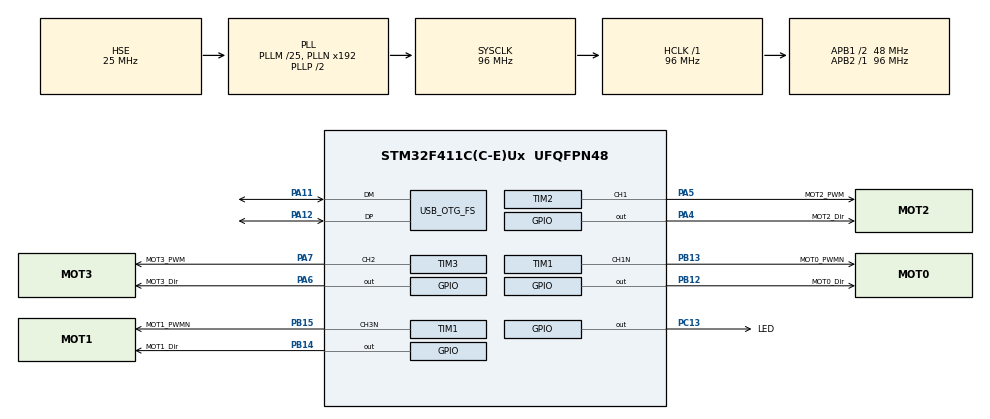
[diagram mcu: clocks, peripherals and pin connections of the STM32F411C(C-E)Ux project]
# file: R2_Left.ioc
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Mcu.Family=STM32F4
Mcu.Name=STM32F411C(C-E)Ux
Mcu.Package=UFQFPN48
NVIC.OTG_FS_IRQn=true\:0\:0\:false\:false\:true\:false\:true\:true
NVIC.PriorityGroup=NVIC_PRIORITYGROUP_4
NVIC.TIM4_IRQn=true\:0\:0\:false\:false\:true\:true\:true\:true
PA11.Mode=Device_Only
PA11.Signal=USB_OTG_FS_DM
PA12.Mode=Device_Only
PA12.Signal=USB_OTG_FS_DP
PA4.GPIO_Label=MOT2_Dir
PA4.Signal=GPIO_Output
PA5.GPIO_Label=MOT2_PWM
PA5.Signal=S_TIM2_CH1_ETR
PA6.GPIO_Label=MOT3_Dir
PA6.Signal=GPIO_Output
PA7.GPIO_Label=MOT3_PWM
PA7.Signal=S_TIM3_CH2
PB12.GPIO_Label=MOT0_Dir
PB12.Signal=GPIO_Output
PB13.GPIO_Label=MOT0_PWMN
PB13.Mode=PWM Generation1 CH1N
PB13.Signal=TIM1_CH1N
PB14.GPIO_Label=MOT1_Dir
PB14.Signal=GPIO_Output
PB15.GPIO_Label=MOT1_PWMN
PB15.Mode=PWM Generation3 CH3N
PB15.Signal=TIM1_CH3N
PC13-ANTI_TAMP.GPIO_Label=LED
PC13-ANTI_TAMP.Signal=GPIO_Output
PH0\ -\ OSC_IN.Mode=HSE-External-Oscillator
PH0\ -\ OSC_IN.Signal=RCC_OSC_IN
PH1\ -\ OSC_OUT.Mode=HSE-External-Oscillator
PH1\ -\ OSC_OUT.Signal=RCC_OSC_OUT
ProjectManager.HeapSize=0x200
ProjectManager.StackSize=0x400
ProjectManager.TargetToolchain=STM32CubeIDE
RCC.48MHZClocksFreq_Value=48000000
RCC.AHBFreq_Value=96000000
RCC.APB1CLKDivider=RCC_HCLK_DIV2
RCC.APB1Freq_Value=48000000
RCC.APB1TimFreq_Value=96000000
RCC.APB2Freq_Value=96000000
RCC.APB2TimFreq_Value=96000000
RCC.CortexFreq_Value=96000000
RCC.HCLKFreq_Value=96000000
RCC.HSE_VALUE=25000000
RCC.HSI_VALUE=16000000
RCC.LSE_VALUE=32768
RCC.PLLM=25
RCC.SYSCLKFreq_VALUE=96000000
RCC.SYSCLKSource=RCC_SYSCLKSOURCE_PLLCLK
RCC.VCOOutputFreq_Value=192000000
SH.S_TIM2_CH1_ETR.0=TIM2_CH1,PWM Generation1 CH1
SH.S_TIM3_CH2.0=TIM3_CH2,PWM Generation2 CH2
TIM1.Channel-PWM\ Generation1\ CH1N=TIM_CHANNEL_1
TIM1.Channel-PWM\ Generation3\ CH3N=TIM_CHANNEL_3
TIM2.Channel-PWM\ Generation1\ CH1=TIM_CHANNEL_1
TIM3.Channel-PWM\ Generation2\ CH2=TIM_CHANNEL_2
TIM4.AutoReloadPreload=TIM_AUTORELOAD_PRELOAD_ENABLE
TIM4.Period=1000
TIM4.Prescaler=95
USB_DEVICE.CLASS_NAME_FS=CDC
USB_DEVICE.VirtualMode=Cdc
USB_DEVICE.VirtualModeFS=Cdc_FS
USB_OTG_FS.VirtualMode=Device_Only
VP_TIM1_VS_ClockSourceINT.Mode=Internal
VP_TIM2_VS_ClockSourceINT.Mode=Internal
VP_TIM3_VS_ClockSourceINT.Mode=Internal
VP_TIM4_VS_ClockSourceINT.Mode=Internal
VP_USB_DEVICE_VS_USB_DEVICE_CDC_FS.Mode=CDC_FS
board=custom

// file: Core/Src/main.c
/* USER CODE BEGIN Header */
/**
 ******************************************************************************
 * @file           : main.c
 * @brief          : Main program body
 ******************************************************************************
 * @attention
 *
 * Copyright (c) 2024 STMicroelectronics.
 * All rights reserved.
 *
 * This software is licensed under terms that can be found in the LICENSE file
 * in the root directory of this software component.
 * If no LICENSE file comes with this software, it is provided AS-IS.
 *
 ******************************************************************************
 */
/* USER CODE END Header */
#include "main.h"
#include "usb_device.h"

/* USER CODE BEGIN Includes */
#include "usbd_cdc_if.h"
#include "string.h"

/* USER CODE END Includes */

/* USER CODE BEGIN PTD */
typedef struct {
	GPIO_TypeDef *PORT;
	uint16_t PIN;
	TIM_HandleTypeDef *TIMER;
	uint32_t CHANNEL;
	uint8_t DIR;
	uint16_t PWM;
} MOTOR_TypeDef;

/* USER CODE END PTD */

/* USER CODE BEGIN PD */
#define BUFFER_LENGTH 64
#define SOL_INTERVAL 1000

#define NO_OF_MOTORS 4
#define LEFT_SHIFT 8

/* USER CODE END PD */

TIM_HandleTypeDef htim1;
TIM_HandleTypeDef htim2;
TIM_HandleTypeDef htim3;
TIM_HandleTypeDef htim4;

/* USER CODE BEGIN PV */
char buffer[BUFFER_LENGTH];

uint8_t leadPos = 2; //DON'T start the lead screw at an extreme position
uint8_t errorFlag = 0;

MOTOR_TypeDef motor[NO_OF_MOTORS];

/* USER CODE END PV */

void SystemClock_Config(void);
static void MX_GPIO_Init(void);
static void MX_TIM1_Init(void);
static void MX_TIM2_Init(void);
static void MX_TIM4_Init(void);
static void MX_TIM3_Init(void);

/* USER CODE BEGIN 0 */
int isCleared(char *buffer) {
	for (uint8_t i = 0; i < BUFFER_LENGTH; i++) {
		if (buffer[i] != '\0') {
			return 0;  // Buffer is not cleared
		}
	}
	return 1;  // Buffer is cleared
}

/* USER CODE END 0 */

int main(void) {

	/* USER CODE BEGIN 1 */
	uint32_t lastSOL = 0;

	char message[BUFFER_LENGTH + 20];

	motor[0].PORT = GPIOB;
	motor[0].PIN = GPIO_PIN_12;
	motor[0].TIMER = &htim1;
	motor[0].CHANNEL = TIM_CHANNEL_1;

	motor[1].PORT = GPIOB;
	motor[1].PIN = GPIO_PIN_14;
	motor[1].TIMER = &htim1;
	motor[1].CHANNEL = TIM_CHANNEL_3;

	motor[2].PORT = GPIOA;
	motor[2].PIN = GPIO_PIN_4;
	motor[2].TIMER = &htim2;
	motor[2].CHANNEL = TIM_CHANNEL_1;

	motor[3].PORT = GPIOA;
	motor[3].PIN = GPIO_PIN_6;
	motor[3].TIMER = &htim3;
	motor[3].CHANNEL = TIM_CHANNEL_2;

	for (uint8_t i = 0; i < NO_OF_MOTORS; i++) {
		motor[i].DIR = 0;
		motor[i].PWM = 0;
	}

	/* USER CODE END 1 */

	/* MCU Configuration--------------------------------------------------------*/

	/* Reset of all peripherals, Initializes the Flash interface and the Systick. */
	HAL_Init();

	/* Configure the system clock */
	SystemClock_Config();

	/* Initialize all configured peripherals */
	MX_GPIO_Init();
	MX_TIM1_Init();
	MX_TIM2_Init();
	MX_TIM4_Init();
	MX_USB_DEVICE_Init();
	MX_TIM3_Init();
	/* USER CODE BEGIN 2 */
	HAL_GPIO_WritePin(GPIOC, GPIO_PIN_13, GPIO_PIN_RESET);

	for (uint8_t i = 0; i < 2; i++) {
		if ((HAL_TIMEx_PWMN_Start(motor[i].TIMER, motor[i].CHANNEL) == HAL_OK)) {
			sprintf(message, "Motor %d PWM initialised\n\r", i);
		} else {
			sprintf(message, "Error initialising motor %d PWM\n\r", i);
			errorFlag = 1;
		}

		CDC_Transmit_FS((uint8_t*) message, strlen(message));
		HAL_Delay(1);
	}

	for (uint8_t i = 2; i < NO_OF_MOTORS; i++) {
		if ((HAL_TIM_PWM_Start(motor[i].TIMER, motor[i].CHANNEL) == HAL_OK)) { //this is PWM not PWMN
			sprintf(message, "Motor %d PWM initialised\n\r", i);
		} else {
			sprintf(message, "Error initialising motor %d PWM\n\r", i);
			errorFlag = 1;
		}

		CDC_Transmit_FS((uint8_t*) message, strlen(message));
		HAL_Delay(1);
	}

	for (uint8_t i = 0; i < NO_OF_MOTORS; i++) {
		HAL_GPIO_WritePin(motor[i].PORT, motor[i].PIN, GPIO_PIN_RESET);
		__HAL_TIM_SET_COMPARE(motor[i].TIMER, motor[i].CHANNEL, 0);
	}

	if (!errorFlag) {
		sprintf(message, "All systems operational\n\r");
		CDC_Transmit_FS((uint8_t*) message, strlen(message));
		HAL_Delay(1);

		sprintf(message, "F411 Black Pill online\n\r");
		CDC_Transmit_FS((uint8_t*) message, strlen(message));
		HAL_Delay(1);
	} else {
		sprintf(message, "STM started with some errors\n\r");
		CDC_Transmit_FS((uint8_t*) message, strlen(message));
		HAL_Delay(1);
	}

	/* USER CODE END 2 */

	/* Infinite loop */
	/* USER CODE BEGIN WHILE */
	while (1) {
		uint32_t current_time = HAL_GetTick();

		if (!isCleared(buffer)) {
			char receivedStr[BUFFER_LENGTH];

			sprintf(message, "String Received: %s\n\r", buffer);
			CDC_Transmit_FS((uint8_t*) message, strlen(message));

			sprintf(receivedStr, "%s", buffer);
			uint8_t receivedStrlen = strlen(receivedStr);

			if (receivedStr[receivedStrlen - 1] == 'A') {
				uint8_t arrIndex = 1;
				uint8_t multiplier = 1;

				for (uint8_t i = 0; i < 2; i++) {
					motor[i].DIR = 0;
					motor[i].PWM = 0;
				}

				for (int8_t i = receivedStrlen - 2; i >= 0; i--) {
					if (receivedStr[i] >= '0' && receivedStr[i] <= '9') {
						motor[arrIndex].PWM += (receivedStr[i] - '0')
								* multiplier;
						multiplier *= 10;
					} else if (receivedStr[i] == '-') {
						motor[arrIndex].DIR = 1;
					} else if (receivedStr[i] == ',') {
						arrIndex--;
						multiplier = 1;
					}
				}

				for (uint8_t i = 0; i < NO_OF_MOTORS; i++) {
					HAL_GPIO_WritePin(motor[i].PORT, motor[i].PIN,
							motor[i].DIR);
					__HAL_TIM_SET_COMPARE(motor[i].TIMER, motor[i].CHANNEL,
							motor[i].PWM << LEFT_SHIFT);

					sprintf(message, "Dir%d: %d PWM%d: %d\n\r", i, motor[i].DIR,
							i, motor[i].PWM);
					CDC_Transmit_FS((uint8_t*) message, strlen(message));
					HAL_Delay(1);	//Doesn't work without this line
				}
			}

			memset(buffer, '\0', BUFFER_LENGTH);

		} else if (current_time - lastSOL >= SOL_INTERVAL) {
			CDC_Transmit_FS((uint8_t*) "SOL\n\r", strlen("SOL\n\r"));
			lastSOL = current_time;
		}

		HAL_Delay(1);
		/* USER CODE END WHILE */

	}
}

void SystemClock_Config(void) {
	RCC_OscInitTypeDef RCC_OscInitStruct = { 0 };
	RCC_ClkInitTypeDef RCC_ClkInitStruct = { 0 };

	/** Configure the main internal regulator output voltage
	 */
	__HAL_RCC_PWR_CLK_ENABLE();
	__HAL_PWR_VOLTAGESCALING_CONFIG(PWR_REGULATOR_VOLTAGE_SCALE1);

	/** Initializes the RCC Oscillators according to the specified parameters
	 * in the RCC_OscInitTypeDef structure.
	 */
	RCC_OscInitStruct.OscillatorType = RCC_OSCILLATORTYPE_HSE;
	RCC_OscInitStruct.HSEState = RCC_HSE_ON;
	RCC_OscInitStruct.PLL.PLLState = RCC_PLL_ON;
	RCC_OscInitStruct.PLL.PLLSource = RCC_PLLSOURCE_HSE;
	RCC_OscInitStruct.PLL.PLLM = 25;
	RCC_OscInitStruct.PLL.PLLN = 192;
	RCC_OscInitStruct.PLL.PLLP = RCC_PLLP_DIV2;
	RCC_OscInitStruct.PLL.PLLQ = 4;
	if (HAL_RCC_OscConfig(&RCC_OscInitStruct) != HAL_OK) {
		Error_Handler();
	}

	/** Initializes the CPU, AHB and APB buses clocks
	 */
	RCC_ClkInitStruct.ClockType = RCC_CLOCKTYPE_HCLK | RCC_CLOCKTYPE_SYSCLK
			| RCC_CLOCKTYPE_PCLK1 | RCC_CLOCKTYPE_PCLK2;
	RCC_ClkInitStruct.SYSCLKSource = RCC_SYSCLKSOURCE_PLLCLK;
	RCC_ClkInitStruct.AHBCLKDivider = RCC_SYSCLK_DIV1;
	RCC_ClkInitStruct.APB1CLKDivider = RCC_HCLK_DIV2;
	RCC_ClkInitStruct.APB2CLKDivider = RCC_HCLK_DIV1;

	if (HAL_RCC_ClockConfig(&RCC_ClkInitStruct, FLASH_LATENCY_3) != HAL_OK) {
		Error_Handler();
	}
}

static void MX_TIM1_Init(void) {

	TIM_ClockConfigTypeDef sClockSourceConfig = { 0 };
	TIM_MasterConfigTypeDef sMasterConfig = { 0 };
	TIM_OC_InitTypeDef sConfigOC = { 0 };
	TIM_BreakDeadTimeConfigTypeDef sBreakDeadTimeConfig = { 0 };

	htim1.Instance = TIM1;
	htim1.Init.Prescaler = 0;
	htim1.Init.CounterMode = TIM_COUNTERMODE_UP;
	htim1.Init.Period = 65535;
	htim1.Init.ClockDivision = TIM_CLOCKDIVISION_DIV1;
	htim1.Init.RepetitionCounter = 0;
	htim1.Init.AutoReloadPreload = TIM_AUTORELOAD_PRELOAD_DISABLE;
	if (HAL_TIM_Base_Init(&htim1) != HAL_OK) {
		Error_Handler();
	}
	sClockSourceConfig.ClockSource = TIM_CLOCKSOURCE_INTERNAL;
	if (HAL_TIM_ConfigClockSource(&htim1, &sClockSourceConfig) != HAL_OK) {
		Error_Handler();
	}
	if (HAL_TIM_PWM_Init(&htim1) != HAL_OK) {
		Error_Handler();
	}
	sMasterConfig.MasterOutputTrigger = TIM_TRGO_RESET;
	sMasterConfig.MasterSlaveMode = TIM_MASTERSLAVEMODE_DISABLE;
	if (HAL_TIMEx_MasterConfigSynchronization(&htim1, &sMasterConfig)
			!= HAL_OK) {
		Error_Handler();
	}
	sConfigOC.OCMode = TIM_OCMODE_PWM1;
	sConfigOC.Pulse = 0;
	sConfigOC.OCPolarity = TIM_OCPOLARITY_HIGH;
	sConfigOC.OCNPolarity = TIM_OCNPOLARITY_HIGH;
	sConfigOC.OCFastMode = TIM_OCFAST_DISABLE;
	sConfigOC.OCIdleState = TIM_OCIDLESTATE_RESET;
	sConfigOC.OCNIdleState = TIM_OCNIDLESTATE_RESET;
	if (HAL_TIM_PWM_ConfigChannel(&htim1, &sConfigOC, TIM_CHANNEL_1)
			!= HAL_OK) {
		Error_Handler();
	}
	if (HAL_TIM_PWM_ConfigChannel(&htim1, &sConfigOC, TIM_CHANNEL_3)
			!= HAL_OK) {
		Error_Handler();
	}
	sBreakDeadTimeConfig.OffStateRunMode = TIM_OSSR_DISABLE;
	sBreakDeadTimeConfig.OffStateIDLEMode = TIM_OSSI_DISABLE;
	sBreakDeadTimeConfig.LockLevel = TIM_LOCKLEVEL_OFF;
	sBreakDeadTimeConfig.DeadTime = 0;
	sBreakDeadTimeConfig.BreakState = TIM_BREAK_DISABLE;
	sBreakDeadTimeConfig.BreakPolarity = TIM_BREAKPOLARITY_HIGH;
	sBreakDeadTimeConfig.AutomaticOutput = TIM_AUTOMATICOUTPUT_DISABLE;
	if (HAL_TIMEx_ConfigBreakDeadTime(&htim1, &sBreakDeadTimeConfig)
			!= HAL_OK) {
		Error_Handler();
	}
	HAL_TIM_MspPostInit(&htim1);

}

static void MX_TIM2_Init(void) {

	TIM_ClockConfigTypeDef sClockSourceConfig = { 0 };
	TIM_MasterConfigTypeDef sMasterConfig = { 0 };
	TIM_OC_InitTypeDef sConfigOC = { 0 };

	htim2.Instance = TIM2;
	htim2.Init.Prescaler = 0;
	htim2.Init.CounterMode = TIM_COUNTERMODE_UP;
	htim2.Init.Period = 4294967295;
	htim2.Init.ClockDivision = TIM_CLOCKDIVISION_DIV1;
	htim2.Init.AutoReloadPreload = TIM_AUTORELOAD_PRELOAD_DISABLE;
	if (HAL_TIM_Base_Init(&htim2) != HAL_OK) {
		Error_Handler();
	}
	sClockSourceConfig.ClockSource = TIM_CLOCKSOURCE_INTERNAL;
	if (HAL_TIM_ConfigClockSource(&htim2, &sClockSourceConfig) != HAL_OK) {
		Error_Handler();
	}
	if (HAL_TIM_PWM_Init(&htim2) != HAL_OK) {
		Error_Handler();
	}
	sMasterConfig.MasterOutputTrigger = TIM_TRGO_RESET;
	sMasterConfig.MasterSlaveMode = TIM_MASTERSLAVEMODE_DISABLE;
	if (HAL_TIMEx_MasterConfigSynchronization(&htim2, &sMasterConfig)
			!= HAL_OK) {
		Error_Handler();
	}
	sConfigOC.OCMode = TIM_OCMODE_PWM1;
	sConfigOC.Pulse = 0;
	sConfigOC.OCPolarity = TIM_OCPOLARITY_HIGH;
	sConfigOC.OCFastMode = TIM_OCFAST_DISABLE;
	if (HAL_TIM_PWM_ConfigChannel(&htim2, &sConfigOC, TIM_CHANNEL_1)
			!= HAL_OK) {
		Error_Handler();
	}
	HAL_TIM_MspPostInit(&htim2);

}

static void MX_TIM3_Init(void) {

	TIM_ClockConfigTypeDef sClockSourceConfig = { 0 };
	TIM_MasterConfigTypeDef sMasterConfig = { 0 };
	TIM_OC_InitTypeDef sConfigOC = { 0 };

	htim3.Instance = TIM3;
	htim3.Init.Prescaler = 0;
	htim3.Init.CounterMode = TIM_COUNTERMODE_UP;
	htim3.Init.Period = 65535;
	htim3.Init.ClockDivision = TIM_CLOCKDIVISION_DIV1;
	htim3.Init.AutoReloadPreload = TIM_AUTORELOAD_PRELOAD_DISABLE;
	if (HAL_TIM_Base_Init(&htim3) != HAL_OK) {
		Error_Handler();
	}
	sClockSourceConfig.ClockSource = TIM_CLOCKSOURCE_INTERNAL;
	if (HAL_TIM_ConfigClockSource(&htim3, &sClockSourceConfig) != HAL_OK) {
		Error_Handler();
	}
	if (HAL_TIM_PWM_Init(&htim3) != HAL_OK) {
		Error_Handler();
	}
	sMasterConfig.MasterOutputTrigger = TIM_TRGO_RESET;
	sMasterConfig.MasterSlaveMode = TIM_MASTERSLAVEMODE_DISABLE;
	if (HAL_TIMEx_MasterConfigSynchronization(&htim3, &sMasterConfig)
			!= HAL_OK) {
		Error_Handler();
	}
	sConfigOC.OCMode = TIM_OCMODE_PWM1;
	sConfigOC.Pulse = 0;
	sConfigOC.OCPolarity = TIM_OCPOLARITY_HIGH;
	sConfigOC.OCFastMode = TIM_OCFAST_DISABLE;
	if (HAL_TIM_PWM_ConfigChannel(&htim3, &sConfigOC, TIM_CHANNEL_2)
			!= HAL_OK) {
		Error_Handler();
	}
	HAL_TIM_MspPostInit(&htim3);

}

static void MX_TIM4_Init(void) {

	TIM_ClockConfigTypeDef sClockSourceConfig = { 0 };
	TIM_MasterConfigTypeDef sMasterConfig = { 0 };

	htim4.Instance = TIM4;
	htim4.Init.Prescaler = 95;
	htim4.Init.CounterMode = TIM_COUNTERMODE_UP;
	htim4.Init.Period = 1000;
	htim4.Init.ClockDivision = TIM_CLOCKDIVISION_DIV1;
	htim4.Init.AutoReloadPreload = TIM_AUTORELOAD_PRELOAD_ENABLE;
	if (HAL_TIM_Base_Init(&htim4) != HAL_OK) {
		Error_Handler();
	}
	sClockSourceConfig.ClockSource = TIM_CLOCKSOURCE_INTERNAL;
	if (HAL_TIM_ConfigClockSource(&htim4, &sClockSourceConfig) != HAL_OK) {
		Error_Handler();
	}
	sMasterConfig.MasterOutputTrigger = TIM_TRGO_RESET;
	sMasterConfig.MasterSlaveMode = TIM_MASTERSLAVEMODE_DISABLE;
	if (HAL_TIMEx_MasterConfigSynchronization(&htim4, &sMasterConfig)
			!= HAL_OK) {
		Error_Handler();
	}

}

static void MX_GPIO_Init(void) {
	GPIO_InitTypeDef GPIO_InitStruct = { 0 };

	/* GPIO Ports Clock Enable */
	__HAL_RCC_GPIOC_CLK_ENABLE();
	__HAL_RCC_GPIOH_CLK_ENABLE();
	__HAL_RCC_GPIOA_CLK_ENABLE();
	__HAL_RCC_GPIOB_CLK_ENABLE();

	/*Configure GPIO pin Output Level */
	HAL_GPIO_WritePin(LED_GPIO_Port, LED_Pin, GPIO_PIN_RESET);

	/*Configure GPIO pin Output Level */
	HAL_GPIO_WritePin(GPIOA, MOT2_Dir_Pin | MOT3_Dir_Pin, GPIO_PIN_RESET);

	/*Configure GPIO pin Output Level */
	HAL_GPIO_WritePin(GPIOB, MOT0_Dir_Pin | MOT1_Dir_Pin, GPIO_PIN_RESET);

	/*Configure GPIO pin : LED_Pin */
	GPIO_InitStruct.Pin = LED_Pin;
	GPIO_InitStruct.Mode = GPIO_MODE_OUTPUT_PP;
	GPIO_InitStruct.Pull = GPIO_NOPULL;
	GPIO_InitStruct.Speed = GPIO_SPEED_FREQ_LOW;
	HAL_GPIO_Init(LED_GPIO_Port, &GPIO_InitStruct);

	/*Configure GPIO pins : MOT2_Dir_Pin MOT3_Dir_Pin */
	GPIO_InitStruct.Pin = MOT2_Dir_Pin | MOT3_Dir_Pin;
	GPIO_InitStruct.Mode = GPIO_MODE_OUTPUT_PP;
	GPIO_InitStruct.Pull = GPIO_NOPULL;
	GPIO_InitStruct.Speed = GPIO_SPEED_FREQ_LOW;
	HAL_GPIO_Init(GPIOA, &GPIO_InitStruct);

	/*Configure GPIO pins : MOT0_Dir_Pin MOT1_Dir_Pin */
	GPIO_InitStruct.Pin = MOT0_Dir_Pin | MOT1_Dir_Pin;
	GPIO_InitStruct.Mode = GPIO_MODE_OUTPUT_PP;
	GPIO_InitStruct.Pull = GPIO_NOPULL;
	GPIO_InitStruct.Speed = GPIO_SPEED_FREQ_LOW;
	HAL_GPIO_Init(GPIOB, &GPIO_InitStruct);

}

/* USER CODE BEGIN 4 */
void HAL_TIM_PeriodElapsedCallback(TIM_HandleTypeDef *htim) {
	if (errorFlag) {
		HAL_GPIO_TogglePin(GPIOC, GPIO_PIN_13);
	}

}

/* USER CODE END 4 */

void Error_Handler(void) {
	__disable_irq();
	while (1) {
	}
}
